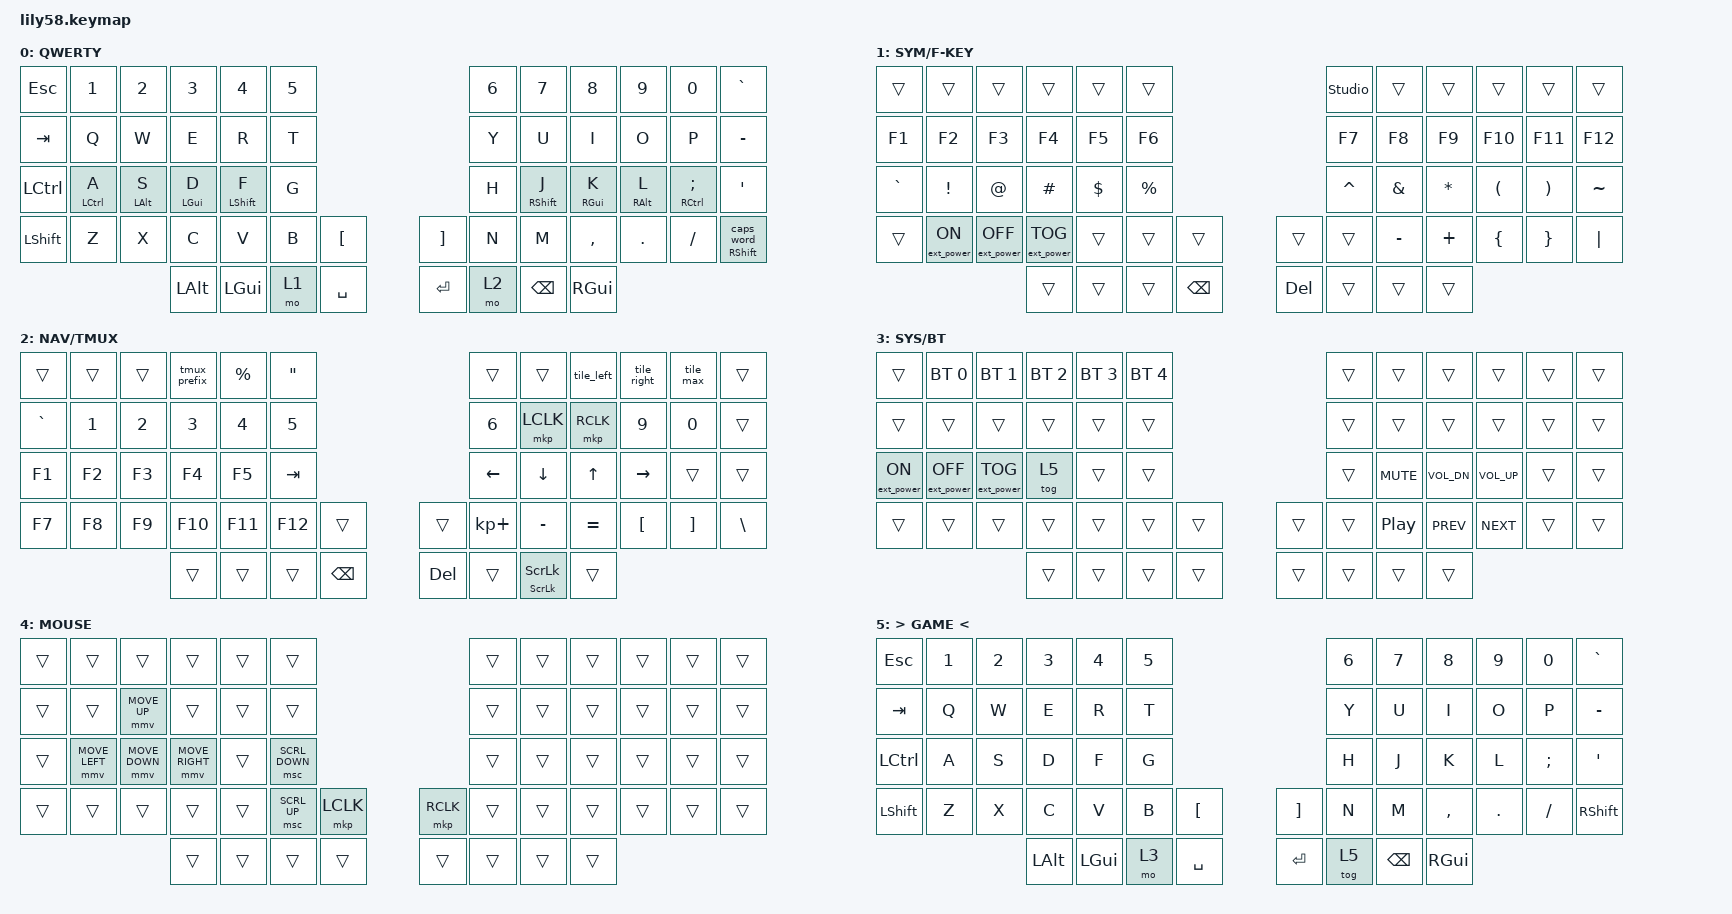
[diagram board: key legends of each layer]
/*
 * Copyright (c) 2020 The ZMK Contributors
 *
 * SPDX-License-Identifier: MIT
 */

#include <behaviors.dtsi>
#include <dt-bindings/zmk/keys.h>
#include <dt-bindings/zmk/bt.h>
#include <dt-bindings/zmk/ext_power.h>
#include <dt-bindings/zmk/pointing.h>

#define default_layer 0
#define lower_layer 1
#define raise_layer 2
#define adjust_layer 3
#define extra 4
#define gaming 5


/ {
    behaviors {
        // Left home row mods (timerless/urob-style)
        // Mac order: Ctrl, Alt, Cmd, Shift (C-A-G-S)
        bhv_hrm_left: bhv_hrm_left {
            compatible = "zmk,behavior-hold-tap";
            #binding-cells = <2>;
            flavor = "balanced";
            tapping-term-ms = <280>;
            quick-tap-ms = <175>;
            require-prior-idle-ms = <150>;
            bindings = <&kp>, <&kp>;
            hold-trigger-key-positions = <6 7 8 9 10 11 18 19 20 21 22 23 30 31 32 33 34 35 43 44 45 46 47 48 49 54 55 56 57>;
            hold-trigger-on-release;
        };

        // Right home row mods (timerless/urob-style)
        // Mac order: Shift, Cmd, Alt, Ctrl (S-G-A-C)
        bhv_hrm_right: bhv_hrm_right {
            compatible = "zmk,behavior-hold-tap";
            #binding-cells = <2>;
            flavor = "balanced";
            tapping-term-ms = <280>;
            quick-tap-ms = <175>;
            require-prior-idle-ms = <150>;
            bindings = <&kp>, <&kp>;
            hold-trigger-key-positions = <0 1 2 3 4 5 12 13 14 15 16 17 24 25 26 27 28 29 36 37 38 39 40 41 42 50 51 52 53>;
            hold-trigger-on-release;
        };

        // Pinky shift: tap for Caps Word, hold for Shift
        pinky_shift: pinky_shift {
            compatible = "zmk,behavior-hold-tap";
            #binding-cells = <2>;
            flavor = "balanced";
            tapping-term-ms = <200>;
            quick-tap-ms = <125>;
            bindings = <&kp>, <&caps_word>;
        };

        // Scroll lock: tap to toggle, hold to activate (off on release)
        scroll_lock_ht: scroll_lock_ht {
            compatible = "zmk,behavior-hold-tap";
            #binding-cells = <2>;
            flavor = "tap-preferred";
            tapping-term-ms = <200>;
            bindings = <&kp>, <&kt>;
        };
    };

    macros {
        // Tmux prefix: Ctrl+B
        tmux_prefix: tmux_prefix {
            compatible = "zmk,behavior-macro";
            #binding-cells = <0>;
            bindings = <&macro_press &kp LCTRL>
                     , <&macro_tap &kp B>
                     , <&macro_release &kp LCTRL>;
        };

        // macOS tiling: Ctrl+Opt+Left
        tile_left: tile_left {
            compatible = "zmk,behavior-macro";
            #binding-cells = <0>;
            bindings = <&macro_press &kp LCTRL &kp LALT>
                     , <&macro_tap &kp LEFT>
                     , <&macro_release &kp LCTRL &kp LALT>;
        };

        // macOS tiling: Ctrl+Opt+Right
        tile_right: tile_right {
            compatible = "zmk,behavior-macro";
            #binding-cells = <0>;
            bindings = <&macro_press &kp LCTRL &kp LALT>
                     , <&macro_tap &kp RIGHT>
                     , <&macro_release &kp LCTRL &kp LALT>;
        };

        // macOS tiling: Ctrl+Opt+F (fullscreen/maximize)
        tile_max: tile_max {
            compatible = "zmk,behavior-macro";
            #binding-cells = <0>;
            bindings = <&macro_press &kp LCTRL &kp LALT>
                     , <&macro_tap &kp F>
                     , <&macro_release &kp LCTRL &kp LALT>;
        };
    };

    combos {
        compatible = "zmk,combos";
        // Safety combo: Press BT_SEL 0 + BT_SEL 1 together to clear all Bluetooth bonds
        // This requires being on Adjust layer (Lower+Raise held), then pressing two keys together
        combo_bt_clr_all {
            timeout-ms = <50>;
            key-positions = <1 2>;  // BT_SEL 0 (pos 1) + BT_SEL 1 (pos 2) on Adjust layer
            bindings = <&bt BT_CLR_ALL>;
            layers = <3>;  // Only active on Adjust layer
        };
    };

    keymap {
        compatible = "zmk,keymap";

        default_layer {
            display-name = "QWERTY";

// ------------------------------------------------------------------------------------------------------------
// |  ESC  |  1  |  2  |  3   |  4   |  5   |                   |  6   |  7    |  8    |  9   |   0   |   `   |
// |  TAB  |  Q  |  W  |  E   |  R   |  T   |                   |  Y   |  U    |  I    |  O   |   P   |   -   |
// |  CTRL |  A  |  S  |  D   |  F   |  G   |                   |  H   |  J    |  K    |  L   |   ;   |   '   |
// | SHIFT |  Z  |  X  |  C   |  V   |  B   |   "["  |  |  "]"  |  N   |  M    |  ,    |  .   |   /   | SHIFT |
//                     | ALT  | GUI  | LOWER|  SPACE |  | ENTER | RAISE| BSPC  | GUI   |
            bindings = <
&kp ESC   &kp N1 &kp N2 &kp N3   &kp N4   &kp N5                     &kp N6 &kp N7   &kp N8    &kp N9  &kp N0   &kp GRAVE
&kp TAB   &kp Q  &kp W  &kp E    &kp R    &kp T                      &kp Y  &kp U    &kp I     &kp O   &kp P    &kp MINUS
&kp LCTRL &bhv_hrm_left LCTRL A &bhv_hrm_left LALT S &bhv_hrm_left LGUI D &bhv_hrm_left LSHFT F &kp G                      &kp H  &bhv_hrm_right RSHFT J &bhv_hrm_right RGUI K &bhv_hrm_right RALT L &bhv_hrm_right RCTRL SEMI &kp SQT
&kp LSHFT &kp Z  &kp X  &kp C    &kp V    &kp B  &kp LBKT   &kp RBKT &kp N  &kp M    &kp COMMA &kp DOT &kp FSLH &pinky_shift RSHFT 0
                        &kp LALT &kp LGUI &mo 1  &kp SPACE  &kp RET  &mo 2  &kp BSPC &kp RGUI
            >;
        };

        lower_layer {
            display-name = "SYM/F-KEY";
// ------------------------------------------------------------------------------------------------------------
// |       |     |     |      |      |      |                   | UNLCK|       |       |      |       |       |
// |  F1   |  F2 |  F3 |  F4  |  F5  |  F6  |                   |  F7  |  F8   |  F9   |  F10 |  F11  |  F12  |
// |   `   |  !  |  @  |  #   |  $   |  %   |                   |  ^   |  &    |  *    |  (   |   )   |   ~   |
// |       | EP_ON|EP_OFF|EP_TOG|    |      |        |  |       |      |  _    |  +    |  {   |   }   |  "|"  |
//                     |      |      |      |  BSPC  |  |  DEL  |      |       |       |
            bindings = <
&trans         &trans           &trans            &trans            &trans       &trans                       &studio_unlock &trans    &trans    &trans    &trans    &trans
&kp F1         &kp F2           &kp F3            &kp F4            &kp F5       &kp F6                       &kp F7    &kp F8    &kp F9    &kp F10   &kp F11   &kp F12
&kp GRAVE      &kp EXCL         &kp AT            &kp HASH          &kp DOLLAR   &kp PRCNT                    &kp CARET &kp AMPS  &kp ASTRK &kp LPAR  &kp RPAR  &kp TILDE
&trans         &ext_power EP_ON &ext_power EP_OFF &ext_power EP_TOG &trans       &trans    &trans   &trans    &trans    &kp MINUS &kp PLUS  &kp LBRC  &kp RBRC  &kp PIPE
                                              &trans            &trans       &trans    &kp BSPC &kp DEL  &trans    &trans    &trans
            >;
        };

        raise_layer {
            display-name = "NAV/TMUX";
// ------------------------------------------------------------------------------------------------------------
// |       |     |     |TMUX  | %    | "    |                   |      |       |TILE_L|TILE_R|TILE_M |       |
// |   `   |  1  |  2  |  3   |  4   |  5   |                   |  6   |   7   |   8   |  9   |   0   |       |
// |   F1  |  F2 |  F3 |  F4  |  F5  | TAB  |                   |  <-  |   v   |   ^   |  ->  |       |       |
// |   F7  |  F8 |  F9 |  F10 |  F11 |  F12 |        |  |       |  +   |   -   |   =   |  [   |   ]   |   \   |
//                     |      |      |      |  BSPC  |  |  DEL  |      |       |       |
            bindings = <
&trans    &trans &trans &tmux_prefix &kp PRCNT &kp DQT             &trans     &trans     &tile_left &tile_right &tile_max &trans
&kp GRAVE &kp N1 &kp N2 &kp N3       &kp N4    &kp N5              &kp N6     &mkp LCLK  &mkp RCLK  &kp N9      &kp N0    &trans
&kp F1    &kp F2 &kp F3 &kp F4       &kp F5    &kp TAB             &kp LEFT   &kp DOWN   &kp UP     &kp RIGHT   &trans    &trans
&kp F7    &kp F8 &kp F9 &kp F10      &kp F11   &kp F12  &trans  &trans  &kp KP_PLUS &kp MINUS &kp EQUAL &kp LBKT &kp RBKT  &kp BSLH
                        &trans       &trans    &trans   &kp BSPC &kp DEL &trans     &scroll_lock_ht SLCK SLCK     &trans
            >;
        };
        adjust_layer {
            display-name = "SYS/BT";
// ------------------------------------------------------------------------------------------------------------
// |       | BT0 | BT1 |  BT2 |  BT3 |  BT4 |                   |      |       |       |      |       |       |
// |       |     |     |      |      |      |                   |      |       |       |      |       |       |
// | EP_ON |EP_OFF|EP_TOG|GAMING|    |      |                   |      | MUTE  | VOL-  | VOL+ |       |       |
// |       |     |     |      |      |      |        |  |       |      | PLAY  | PREV  | NEXT |       |       |
//                     |      |      |      |        |  |       |      |       |       |
// NOTE: BT_CLR_ALL requires combo (BT0+BT1 simultaneously) for safety
            bindings = <
&trans         &bt BT_SEL 0     &bt BT_SEL 1      &bt BT_SEL 2      &bt BT_SEL 3 &bt BT_SEL 4                 &trans    &trans      &trans      &trans      &trans    &trans
&trans         &trans           &trans            &trans            &trans       &trans                       &trans    &trans      &trans      &trans      &trans    &trans
&ext_power EP_ON &ext_power EP_OFF &ext_power EP_TOG &tog 5        &trans       &trans                       &trans    &kp C_MUTE  &kp C_VOL_DN &kp C_VOL_UP &trans   &trans
&trans         &trans           &trans            &trans            &trans       &trans    &trans   &trans    &trans    &kp C_PP    &kp C_PREV  &kp C_NEXT  &trans    &trans
                                              &trans            &trans       &trans    &trans   &trans    &trans    &trans    &trans
            >;
        };
        extra {
            display-name = "MOUSE";
// ------------------------------------------------------------------------------------------------------------
// |       |     |     |      |      |      |                   |      |       |       |      |       |       |
// |   `   |  1  |  2  |  3   |  4   |  5   |                   |  6   |   7   |   8   |  9   |   0   |       |
// |   F1  |  F2 |  F3 |  F4  |  F5  |  F6  |                   |      |   <-  |   v   |  ^   |  ->   |       |
// |   F7  |  F8 |  F9 |  F10 |  F11 |  F12 |        |  |       |  +   |   -   |   =   |  [   |   ]   |   \   |
//                     |      |      |      |        |  |       |      |       |       |
            bindings = <
&trans    &trans &trans &trans  &trans  &trans                       &trans      &trans    &trans    &trans   &trans    &trans
&trans    &trans &mmv MOVE_UP &trans  &trans  &trans                       &trans      &trans    &trans    &trans   &trans    &trans
&trans    &mmv MOVE_LEFT &mmv MOVE_DOWN &mmv MOVE_RIGHT  &trans  &msc SCRL_DOWN      &trans      &trans    &trans    &trans   &trans    &trans
&trans    &trans &trans &trans  &trans  &msc SCRL_UP   &mkp LCLK      &mkp RCLK    &trans       &trans    &trans    &trans   &trans    &trans
                        &trans  &trans  &trans    &trans   &trans    &trans      &trans    &trans
            >;
        };

        gaming {
            display-name = "> GAME <";
// ------------------------------------------------------------------------------------------------------------
// |  ESC  |  1  |  2  |  3   |  4   |  5   |                   |  6   |   7   |   8   |  9   |   0   |   `   |
// |  TAB  |  Q  |  W  |  E   |  R   |  T   |                   |  Y   |   U   |   I   |  O   |   P   |   -   |
// | CTRL  |  A  |  S  |  D   |  F   |  G   |                   |  H   |   J   |   K   |  L   |   ;   |   '   |
// | SHIFT |  Z  |  X  |  C   |  V   |  B   |   "["  |  |  "]"  |  N   |   M   |   ,   |  .   |   /   | SHIFT |
//                     | ALT  | GUI  | ADJST| SPACE  |  | ENTER| EXIT | BSPC  | GUI   |
            bindings = <
&kp ESC   &kp N1   &kp N2 &kp N3   &kp N4   &kp N5                     &kp N6 &kp N7 &kp N8    &kp N9  &kp N0   &kp GRAVE
&kp TAB   &kp Q    &kp W  &kp E    &kp R    &kp T                      &kp Y  &kp U  &kp I     &kp O   &kp P    &kp MINUS
&kp LCTRL &kp A    &kp S  &kp D    &kp F    &kp G                      &kp H  &kp J  &kp K     &kp L   &kp SEMI &kp SQT
&kp LSHFT &kp Z    &kp X  &kp C    &kp V    &kp B  &kp LBKT   &kp RBKT &kp N  &kp M  &kp COMMA &kp DOT &kp FSLH &kp RSHFT
                          &kp LALT &kp LGUI &mo 3  &kp SPACE  &kp RET  &tog 5 &kp BSPC &kp RGUI
            >;
        };
    };

    conditional_layers {
        compatible = "zmk,conditional-layers";
        // Activate Adjust layer when both Lower and Raise are held
        tri_layer {
            if-layers = <1 2>;  // Lower (1) + Raise (2)
            then-layer = <3>;   // Adjust (3)
        };
    };
};
